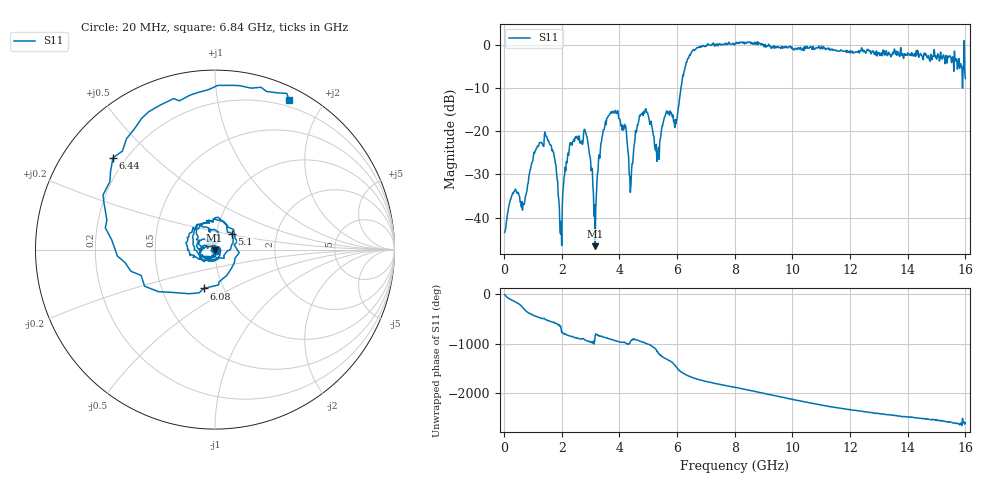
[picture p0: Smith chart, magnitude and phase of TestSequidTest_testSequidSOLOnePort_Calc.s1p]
# MHz MA S R 50.0
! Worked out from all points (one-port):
!   800 points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, 20 MHz to 16 GHz, reference 50 ohm
!   lowest |S11| = -46.6 dB at 3.16 GHz (marker M1), VSWR 1.01, Z = 49.7 - j0.392 ohm
!   |S11| at or under -10 dB: start of sweep to 6.136 GHz; 15.89964 GHz to 15.90043 GHz (797.4 kHz wide, 0.00501 % of centre)
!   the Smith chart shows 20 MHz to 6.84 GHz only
!   S11 on the Smith chart (normalised r, x): 20 MHz: 1.01, -0.00; 5.1 GHz: 1.19, +0.22; 6.08 GHz: 0.81, -0.37; 6.44 GHz: 0.15, +0.38; 6.84 GHz: 0.13, +1.60
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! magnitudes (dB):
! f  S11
! 20 MHz  -43.4
! 300 MHz  -34.3
! 680 MHz  -36.8
! 1.08 GHz  -24.6
! 1.48 GHz  -21.3
! 1.76 GHz  -26.3
! 1.94 GHz  -43.0
! 2.02 GHz  -37.4
! 2.3 GHz  -22.7
! 2.82 GHz  -20.2
! 3.16 GHz  -46.6
! 3.52 GHz  -17.7
! 4.02 GHz  -17.3
! 4.2 GHz  -19.2
! 4.4 GHz  -32.6
! 4.72 GHz  -16.5
! 5.1 GHz  -17.7
! 5.3 GHz  -27.0
! 5.6 GHz  -16.2
! 6.02 GHz  -16.0
! 6.08 GHz  -12.9
! 6.44 GHz  -2.3
! 6.84 GHz  -0.6
! 8.02 GHz  0.1
! 10.02 GHz  -1.0
! 12.02 GHz  -1.7
! 14.02 GHz  -2.4
! 16 GHz  -7.9
